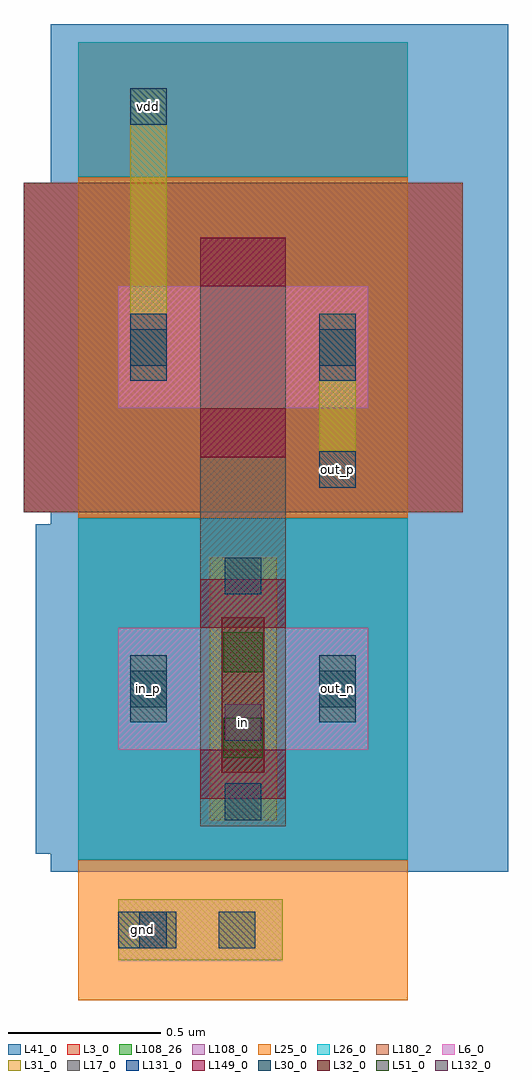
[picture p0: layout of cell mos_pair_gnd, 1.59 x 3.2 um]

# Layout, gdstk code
from math import pi, radians
import gdstk
lib = gdstk.Library(unit=1e-6, precision=1e-09)
def R(c, l, rs):  # rectangles x0, y0, x1, y1
    for r in rs: c.add(gdstk.rectangle(r[:2], r[2:], *l))
L3_0 = (3, 0)
L6_0 = (6, 0)
L17_0 = (17, 0)
L25_0 = (25, 0)
L26_0 = (26, 0)
L30_0 = (30, 0)
L31_0 = (31, 0)
L32_0 = (32, 0)
L41_0 = (41, 0)
L51_0 = (51, 0)
L108_0 = (108, 0)
L108_26 = (108, 26)
L131_0 = (131, 0)
L132_0 = (132, 0)
L149_0 = (149, 0)
L180_2 = (180, 2)

pc_ct = lib.new_cell('pc_ct')
R(pc_ct, L30_0, [(0,0,0.12,0.12)])

nsvt25_cdns_588006422100 = lib.new_cell('nsvt25_CDNS_588006422100')
R(nsvt25_cdns_588006422100, L6_0, [(-0.27,0,0,0.4), (-0.27,0,0.55,0.4), (0.28,0,0.55,0.4)])
R(nsvt25_cdns_588006422100, L17_0, [(0,-0.16,0.28,0.56)])
R(nsvt25_cdns_588006422100, L26_0, [(-0.4,-0.36,0.68,0.76)])
R(nsvt25_cdns_588006422100, L31_0, [(-0.23,0.09,-0.11,0.31), (0.39,0.09,0.51,0.31)])
R(nsvt25_cdns_588006422100, L41_0, [(-0.54,-0.34,0.82,0.74)])
R(nsvt25_cdns_588006422100, L131_0, [(-0.23,0.09,-0.11,0.31), (0.39,0.09,0.51,0.31)])
R(nsvt25_cdns_588006422100, L149_0, [(0,-0.16,0.28,0), (0,0.4,0.28,0.56)])
r = gdstk.Reference(pc_ct, (0.39,0.14)); r.repetition = gdstk.Repetition(1, 1, v1=(0.26,0), v2=(0,0.26)); nsvt25_cdns_588006422100.add(r)
r = gdstk.Reference(pc_ct, (-0.23,0.14)); r.repetition = gdstk.Repetition(1, 1, v1=(0.26,0), v2=(0,0.26)); nsvt25_cdns_588006422100.add(r)
nsvt25_cdns_588006422100.add(gdstk.Label('d', (0.28,0), layer=6, texttype=0))
nsvt25_cdns_588006422100.add(gdstk.Label('s', (0,0), layer=6, texttype=0))
nsvt25_cdns_588006422100.add(gdstk.Label('d', (0.415,0.2), layer=127, texttype=0))
nsvt25_cdns_588006422100.add(gdstk.Label('s', (-0.135,0.2), layer=127, texttype=0))
nsvt25_cdns_588006422100.add(gdstk.Label('d', (0.45,0.2), layer=131, texttype=0))
nsvt25_cdns_588006422100.add(gdstk.Label('s', (-0.17,0.2), layer=131, texttype=0))
nsvt25_cdns_588006422100.add(gdstk.Label('g', (0.14,0.48), layer=149, texttype=0))
nsvt25_cdns_588006422100.add(gdstk.Label('g', (0.14,-0.08), layer=149, texttype=0))

psvt25_cdns_588006422101 = lib.new_cell('psvt25_CDNS_588006422101')
R(psvt25_cdns_588006422101, L3_0, [(-0.58,-0.34,0.86,0.74)])
R(psvt25_cdns_588006422101, L6_0, [(-0.27,0,0,0.4), (-0.27,0,0.55,0.4), (0.28,0,0.55,0.4)])
R(psvt25_cdns_588006422101, L17_0, [(0,-0.16,0.28,0.56)])
R(psvt25_cdns_588006422101, L25_0, [(-0.4,-0.36,0.68,0.76)])
R(psvt25_cdns_588006422101, L31_0, [(-0.23,0.09,-0.11,0.31), (0.39,0.09,0.51,0.31)])
R(psvt25_cdns_588006422101, L41_0, [(-0.58,-0.34,0.86,0.74)])
R(psvt25_cdns_588006422101, L131_0, [(-0.23,0.09,-0.11,0.31), (0.39,0.09,0.51,0.31)])
R(psvt25_cdns_588006422101, L149_0, [(0,-0.16,0.28,0), (0,0.4,0.28,0.56)])
R(psvt25_cdns_588006422101, L180_2, [(-0.58,-0.34,0.86,0.74)])
r = gdstk.Reference(pc_ct, (0.39,0.14)); r.repetition = gdstk.Repetition(1, 1, v1=(0.26,0), v2=(0,0.26)); psvt25_cdns_588006422101.add(r)
r = gdstk.Reference(pc_ct, (-0.23,0.14)); r.repetition = gdstk.Repetition(1, 1, v1=(0.26,0), v2=(0,0.26)); psvt25_cdns_588006422101.add(r)
psvt25_cdns_588006422101.add(gdstk.Label('d', (0.28,0), layer=6, texttype=0))
psvt25_cdns_588006422101.add(gdstk.Label('s', (0,0), layer=6, texttype=0))
psvt25_cdns_588006422101.add(gdstk.Label('d', (0.415,0.2), layer=127, texttype=0))
psvt25_cdns_588006422101.add(gdstk.Label('s', (-0.135,0.2), layer=127, texttype=0))
psvt25_cdns_588006422101.add(gdstk.Label('d', (0.45,0.2), layer=131, texttype=0))
psvt25_cdns_588006422101.add(gdstk.Label('s', (-0.17,0.2), layer=131, texttype=0))
psvt25_cdns_588006422101.add(gdstk.Label('g', (0.14,0.48), layer=149, texttype=0))
psvt25_cdns_588006422101.add(gdstk.Label('g', (0.14,-0.08), layer=149, texttype=0))
psvt25_cdns_588006422101.add(gdstk.Label('b', (0.14,0.2), layer=180, texttype=2))

m1__po_cdns_588006422100 = lib.new_cell('M1__PO_CDNS_588006422100')
R(m1__po_cdns_588006422100, L17_0, [(-0.08,-0.11,0.08,0.11)])
R(m1__po_cdns_588006422100, L30_0, [(-0.06,-0.06,0.06,0.06)])
R(m1__po_cdns_588006422100, L31_0, [(-0.06,-0.11,0.06,0.11)])

m2_m1_g_cdns_58800642210 = lib.new_cell('M2_M1_G_CDNS_588006422101')
R(m2_m1_g_cdns_58800642210, L31_0, [(-0.255,-0.07,0.255,0.07)])
R(m2_m1_g_cdns_58800642210, L32_0, [(-0.255,-0.07,0.255,0.07)])
R(m2_m1_g_cdns_58800642210, L51_0, [(-0.205,-0.065,-0.075,0.065), (0.075,-0.065,0.205,0.065)])

mos_pair_gnd = lib.new_cell('mos_pair_gnd')
R(mos_pair_gnd, L3_0, [(0,1.12,1.08,2.68)])
R(mos_pair_gnd, L17_0, [(0.4,0.11,0.68,0.2)])
R(mos_pair_gnd, L25_0, [(0.8,-0.46,1.08,0)])
R(mos_pair_gnd, L26_0, [(0,2.24,1.08,2.54), (0,2.54,1.08,2.68)])
R(mos_pair_gnd, L30_0, [(0.2,-0.29,0.32,-0.17), (0.46,-0.29,0.58,-0.17)])
R(mos_pair_gnd, L31_0, [(0.43,0.25,0.65,0.87)])
R(mos_pair_gnd, L41_0, [(-0.09,-0.04,1.41,2.74)])
R(mos_pair_gnd, L108_0, [(0,0,1.08,2.24)])
R(mos_pair_gnd, L108_26, [(0,0,1.08,2.24)])
R(mos_pair_gnd, L131_0, [(0.13,-0.29,0.29,-0.17), (0.17,0.5,0.29,0.62), (0.79,0.5,0.91,0.62), (0.79,1.22,0.91,1.34), (0.17,2.41,0.29,2.53)])
R(mos_pair_gnd, L132_0, [(0.48,0.39,0.6,0.51)])
mos_pair_gnd.add(gdstk.FlexPath([(0.13,-0.23),(0.67,-0.23)], 0.2, ends="flush", simple_path=True, layer=6, datatype=0))  # L6_0
mos_pair_gnd.add(gdstk.FlexPath([(0.85,1.57),(0.85,1.22)], 0.12, ends="flush", simple_path=True, layer=31, datatype=0))  # L31_0
mos_pair_gnd.add(gdstk.FlexPath([(0.13,-0.23),(0.67,-0.23)], 0.2, ends="flush", simple_path=True, layer=31, datatype=0))  # L31_0
mos_pair_gnd.add(gdstk.FlexPath([(0.23,2.47),(0.18,2.47)], 0.12, ends=(0.06, 0), simple_path=True, layer=31, datatype=0))  # L31_0
mos_pair_gnd.add(gdstk.FlexPath([(0.23,1.79),(0.23,2.47)], 0.12, ends=(0, 0.06), simple_path=True, layer=31, datatype=0))  # L31_0
mos_pair_gnd.add(gdstk.FlexPath([(0.54,1.32),(0.54,0.92)], 0.28, ends="flush", simple_path=True, layer=17, datatype=0))  # L17_0
mos_pair_gnd.add(gdstk.FlexPath([(0,-0.23),(0.8,-0.23)], 0.46, ends="flush", simple_path=True, layer=25, datatype=0))  # L25_0
mos_pair_gnd.add(gdstk.Reference(nsvt25_cdns_588006422100, (0.4,0.36)))
mos_pair_gnd.add(gdstk.Reference(psvt25_cdns_588006422101, (0.4,1.48)))
mos_pair_gnd.add(gdstk.Reference(m1__po_cdns_588006422100, (0.54,0.93), rotation=pi/2))
mos_pair_gnd.add(gdstk.Reference(m1__po_cdns_588006422100, (0.54,0.19), rotation=pi/2))
mos_pair_gnd.add(gdstk.Reference(m2_m1_g_cdns_58800642210, (0.54,0.54), rotation=pi/2))
mos_pair_gnd.add(gdstk.Label('in_p', (0.23,0.56), layer=131, texttype=0))
mos_pair_gnd.add(gdstk.Label('vdd', (0.23,2.47), layer=131, texttype=0))
mos_pair_gnd.add(gdstk.Label('gnd', (0.21,-0.23), layer=131, texttype=0))
mos_pair_gnd.add(gdstk.Label('out_p', (0.85,1.28), layer=131, texttype=0))
mos_pair_gnd.add(gdstk.Label('out_n', (0.85,0.56), layer=131, texttype=0))
mos_pair_gnd.add(gdstk.Label('in', (0.54,0.45), layer=132, texttype=0))

lib.write_gds('mos_pair_gnd.gds')
